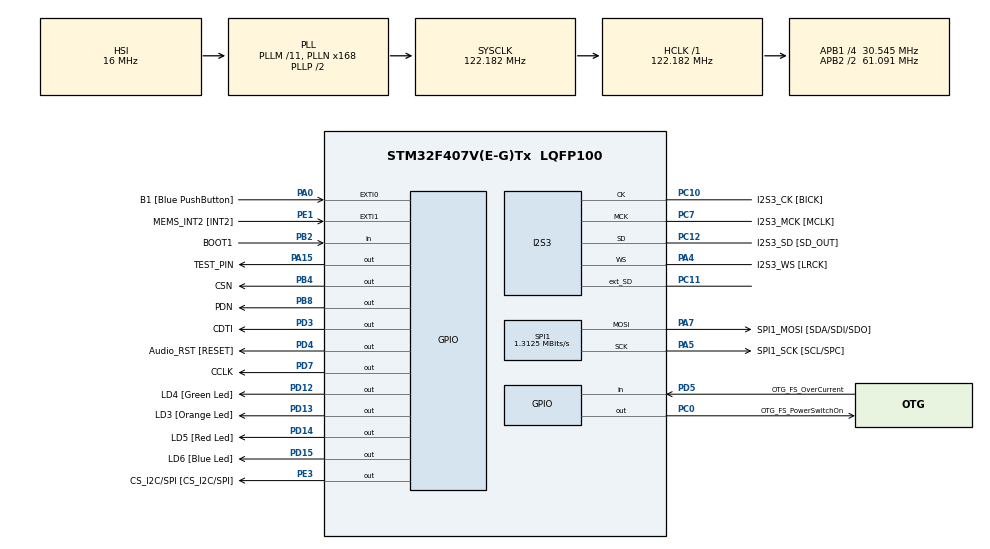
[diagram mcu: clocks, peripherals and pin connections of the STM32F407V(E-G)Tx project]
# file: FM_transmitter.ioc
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Dma.I2S3_EXT_RX.1.Direction=DMA_PERIPH_TO_MEMORY
Dma.I2S3_EXT_RX.1.FIFOMode=DMA_FIFOMODE_DISABLE
Dma.I2S3_EXT_RX.1.Instance=DMA1_Stream0
Dma.I2S3_EXT_RX.1.MemDataAlignment=DMA_MDATAALIGN_WORD
Dma.I2S3_EXT_RX.1.MemInc=DMA_MINC_ENABLE
Dma.I2S3_EXT_RX.1.Mode=DMA_CIRCULAR
Dma.I2S3_EXT_RX.1.PeriphDataAlignment=DMA_PDATAALIGN_WORD
Dma.I2S3_EXT_RX.1.PeriphInc=DMA_PINC_DISABLE
Dma.I2S3_EXT_RX.1.Priority=DMA_PRIORITY_HIGH
Dma.Request0=SPI3_TX
Dma.Request1=I2S3_EXT_RX
Dma.SPI3_TX.0.Direction=DMA_MEMORY_TO_PERIPH
Dma.SPI3_TX.0.FIFOMode=DMA_FIFOMODE_DISABLE
Dma.SPI3_TX.0.Instance=DMA1_Stream5
Dma.SPI3_TX.0.MemDataAlignment=DMA_MDATAALIGN_WORD
Dma.SPI3_TX.0.MemInc=DMA_MINC_ENABLE
Dma.SPI3_TX.0.Mode=DMA_CIRCULAR
Dma.SPI3_TX.0.PeriphDataAlignment=DMA_PDATAALIGN_WORD
Dma.SPI3_TX.0.PeriphInc=DMA_PINC_DISABLE
Dma.SPI3_TX.0.Priority=DMA_PRIORITY_HIGH
I2S3.AudioFreq=I2S_AUDIOFREQ_96K
I2S3.CPOL=I2S_CPOL_LOW
I2S3.ClockSource=I2S_CLOCK_PLL
I2S3.DataFormat=I2S_DATAFORMAT_32B
I2S3.ErrorAudioFreq=4.43 %
I2S3.FullDuplexMode=I2S_FULLDUPLEXMODE_ENABLE
I2S3.Mode=I2S_MODE_MASTER_TX
I2S3.RealAudioFreq=100.26 KHz
Mcu.Family=STM32F4
Mcu.Name=STM32F407V(E-G)Tx
Mcu.Package=LQFP100
NVIC.DMA1_Stream0_IRQn=true\:0\:0\:false\:false\:true
NVIC.DMA1_Stream5_IRQn=true\:0\:0\:false\:false\:true
NVIC.PriorityGroup=NVIC_PRIORITYGROUP_0
NVIC.SPI3_IRQn=true\:0\:0\:false\:false\:true
NVIC.TIM6_DAC_IRQn=true\:0\:0\:false\:false\:true
PA0-WKUP.GPIO_Label=B1 [Blue PushButton]
PA0-WKUP.GPIO_ModeDefaultEXTI=GPIO_MODE_EVT_RISING
PA0-WKUP.GPIO_PuPd=GPIO_NOPULL
PA0-WKUP.Signal=GPXTI0
PA10.GPIO_Label=OTG_FS_ID
PA10.GPIO_Mode=GPIO_MODE_AF_PP
PA10.GPIO_PuPd=GPIO_NOPULL
PA10.GPIO_Speed=GPIO_SPEED_FREQ_LOW
PA10.Signal=USB_OTG_FS_ID
PA11.GPIO_Label=OTG_FS_DM
PA11.GPIO_Mode=GPIO_MODE_AF_PP
PA11.GPIO_PuPd=GPIO_NOPULL
PA11.GPIO_Speed=GPIO_SPEED_FREQ_LOW
PA11.Signal=USB_OTG_FS_DM
PA12.GPIO_Label=OTG_FS_DP
PA12.GPIO_Mode=GPIO_MODE_AF_PP
PA12.GPIO_PuPd=GPIO_NOPULL
PA12.GPIO_Speed=GPIO_SPEED_FREQ_LOW
PA12.Signal=USB_OTG_FS_DP
PA13.GPIO_Label=SWDIO
PA13.Signal=SYS_JTMS-SWDIO
PA14.GPIO_Label=SWCLK
PA14.Signal=SYS_JTCK-SWCLK
PA15.GPIO_Label=TEST_PIN
PA15.GPIO_Speed=GPIO_SPEED_FREQ_LOW
PA15.PinState=GPIO_PIN_RESET
PA15.Signal=GPIO_Output
PA4.GPIO_Label=I2S3_WS [LRCK]
PA4.GPIO_Mode=GPIO_MODE_AF_PP
PA4.GPIO_PuPd=GPIO_NOPULL
PA4.GPIO_Speed=GPIO_SPEED_FREQ_LOW
PA4.Mode=Full_Duplex_Master
PA4.Signal=I2S3_WS
PA5.GPIO_Label=SPI1_SCK [SCL/SPC]
PA5.GPIO_Mode=GPIO_MODE_AF_PP
PA5.GPIO_PuPd=GPIO_NOPULL
PA5.GPIO_Speed=GPIO_SPEED_FREQ_MEDIUM
PA5.Mode=TX_Only_Simplex_Unidirect_Master
PA5.Signal=SPI1_SCK
PA6.GPIO_Label=SPI1_MISO [SDO]
PA6.GPIO_Mode=GPIO_MODE_AF_PP
PA6.GPIO_PuPd=GPIO_NOPULL
PA6.GPIO_Speed=GPIO_SPEED_FREQ_LOW
PA6.Signal=SPI1_MISO
PA7.GPIO_Label=SPI1_MOSI [SDA/SDI/SDO]
PA7.GPIO_Mode=GPIO_MODE_AF_PP
PA7.GPIO_PuPd=GPIO_NOPULL
PA7.GPIO_Speed=GPIO_SPEED_FREQ_MEDIUM
PA7.Mode=TX_Only_Simplex_Unidirect_Master
PA7.Signal=SPI1_MOSI
PA9.GPIO_Label=VBUS_FS
PA9.GPIO_Mode=GPIO_MODE_INPUT
PA9.GPIO_PuPd=GPIO_NOPULL
PA9.Signal=USB_OTG_FS_VBUS
PB10.GPIO_Label=I2S2_CK [BICK]
PB10.GPIO_Mode=GPIO_MODE_AF_PP
PB10.GPIO_PuPd=GPIO_NOPULL
PB10.GPIO_Speed=GPIO_SPEED_FREQ_LOW
PB10.Signal=I2S2_CK
PB2.GPIO_Label=BOOT1
PB2.GPIO_Mode=GPIO_MODE_INPUT
PB2.GPIO_PuPd=GPIO_NOPULL
PB2.Signal=GPIO_Input
PB3.GPIO_Label=SWO
PB3.Signal=SYS_JTDO-SWO
PB4.GPIO_Label=CSN
PB4.PinState=GPIO_PIN_SET
PB4.Signal=GPIO_Output
PB6.GPIO_Label=Audio_SCL
PB6.GPIO_Mode=GPIO_MODE_AF_OD
PB6.GPIO_PuPd=GPIO_NOPULL
PB6.GPIO_Speed=GPIO_SPEED_FREQ_LOW
PB6.Signal=I2C1_SCL
PB8.GPIO_Label=PDN
PB8.PinState=GPIO_PIN_SET
PB8.Signal=GPIO_Output
PB9.GPIO_Label=Audio_SDA
PB9.GPIO_Mode=GPIO_MODE_AF_OD
PB9.GPIO_PuPd=GPIO_NOPULL
PB9.GPIO_Speed=GPIO_SPEED_FREQ_LOW
PB9.Signal=I2C1_SDA
PC0.GPIO_Label=OTG_FS_PowerSwitchOn
PC0.GPIO_PuPd=GPIO_NOPULL
PC0.GPIO_Speed=GPIO_SPEED_FREQ_LOW
PC0.PinState=GPIO_PIN_SET
PC0.Signal=GPIO_Output
PC10.GPIO_Label=I2S3_CK [BICK]
PC10.GPIO_Mode=GPIO_MODE_AF_PP
PC10.GPIO_PuPd=GPIO_NOPULL
PC10.GPIO_Speed=GPIO_SPEED_FREQ_LOW
PC10.Mode=Full_Duplex_Master
PC10.Signal=I2S3_CK
PC11.Mode=Full_Duplex_Master
PC11.Signal=I2S3_ext_SD
PC12.GPIO_Label=I2S3_SD [SD_OUT]
PC12.GPIO_Mode=GPIO_MODE_AF_PP
PC12.GPIO_PuPd=GPIO_NOPULL
PC12.GPIO_Speed=GPIO_SPEED_FREQ_LOW
PC12.Mode=Full_Duplex_Master
PC12.Signal=I2S3_SD
PC14-OSC32_IN.GPIO_Label=PC14-OSC32_IN
PC14-OSC32_IN.Signal=RCC_OSC32_IN
PC15-OSC32_OUT.GPIO_Label=PC15-OSC32_OUT
PC15-OSC32_OUT.Signal=RCC_OSC32_OUT
PC3.GPIO_Label=I2S2_SD [SD_OUT]
PC3.GPIO_Mode=GPIO_MODE_AF_PP
PC3.GPIO_PuPd=GPIO_NOPULL
PC3.GPIO_Speed=GPIO_SPEED_FREQ_LOW
PC3.Signal=I2S2_SD
PC7.GPIO_Label=I2S3_MCK [MCLK]
PC7.GPIO_Mode=GPIO_MODE_AF_PP
PC7.GPIO_PuPd=GPIO_NOPULL
PC7.GPIO_Speed=GPIO_SPEED_FREQ_VERY_HIGH
PC7.Mode=Master_Clock_Activated
PC7.Signal=I2S3_MCK
PD12.GPIO_Label=LD4 [Green Led]
PD12.GPIO_PuPd=GPIO_NOPULL
PD12.GPIO_Speed=GPIO_SPEED_FREQ_LOW
PD12.PinState=GPIO_PIN_SET
PD12.Signal=GPIO_Output
PD13.GPIO_Label=LD3 [Orange Led]
PD13.GPIO_PuPd=GPIO_NOPULL
PD13.GPIO_Speed=GPIO_SPEED_FREQ_LOW
PD13.PinState=GPIO_PIN_SET
PD13.Signal=GPIO_Output
PD14.GPIO_Label=LD5 [Red Led]
PD14.GPIO_PuPd=GPIO_NOPULL
PD14.GPIO_Speed=GPIO_SPEED_FREQ_LOW
PD14.PinState=GPIO_PIN_SET
PD14.Signal=GPIO_Output
PD15.GPIO_Label=LD6 [Blue Led]
PD15.GPIO_PuPd=GPIO_NOPULL
PD15.GPIO_Speed=GPIO_SPEED_FREQ_LOW
PD15.PinState=GPIO_PIN_SET
PD15.Signal=GPIO_Output
PD3.GPIO_Label=CDTI
PD3.PinState=GPIO_PIN_SET
PD3.Signal=GPIO_Output
PD4.GPIO_Label=Audio_RST [RESET]
PD4.GPIO_PuPd=GPIO_NOPULL
PD4.GPIO_Speed=GPIO_SPEED_FREQ_LOW
PD4.Signal=GPIO_Output
PD5.GPIO_Label=OTG_FS_OverCurrent
PD5.GPIO_Mode=GPIO_MODE_INPUT
PD5.GPIO_PuPd=GPIO_NOPULL
PD5.Signal=GPIO_Input
PD7.GPIO_Label=CCLK
PD7.PinState=GPIO_PIN_SET
PD7.Signal=GPIO_Output
PE1.GPIO_Label=MEMS_INT2 [INT2]
PE1.GPIO_ModeDefaultEXTI=GPIO_MODE_EVT_RISING
PE1.GPIO_PuPd=GPIO_NOPULL
PE1.Signal=GPXTI1
PE3.GPIO_Label=CS_I2C/SPI [CS_I2C/SPI]
PE3.GPIO_PuPd=GPIO_NOPULL
PE3.GPIO_Speed=GPIO_SPEED_FREQ_LOW
PE3.Signal=GPIO_Output
PH0-OSC_IN.GPIO_Label=PH0-OSC_IN
PH0-OSC_IN.Signal=RCC_OSC_IN
PH1-OSC_OUT.GPIO_Label=PH1-OSC_OUT
PH1-OSC_OUT.Signal=RCC_OSC_OUT
ProjectManager.HeapSize=0x200
ProjectManager.StackSize=0x400
ProjectManager.TargetToolchain=MDK-ARM V5
RCC.48MHZClocksFreq_Value=34909090.909090914
RCC.AHBFreq_Value=122181818.18181819
RCC.APB1CLKDivider=RCC_HCLK_DIV4
RCC.APB1Freq_Value=30545454.545454547
RCC.APB1TimFreq_Value=61090909.09090909
RCC.APB2CLKDivider=RCC_HCLK_DIV2
RCC.APB2Freq_Value=61090909.09090909
RCC.APB2TimFreq_Value=122181818.18181819
RCC.CortexFreq_Value=122181818.18181819
RCC.EXTERNAL_CLOCK_VALUE=8192000.000000001
RCC.HCLKFreq_Value=122181818.18181819
RCC.HSE_VALUE=8000000
RCC.HSI_VALUE=16000000
RCC.LSE_VALUE=32768
RCC.PLLI2SN=212
RCC.PLLM=11
RCC.PLLN=168
RCC.PLLQ=7
RCC.RCC_MCO1Source=RCC_MCO1SOURCE_PLLCLK
RCC.SYSCLKFreq_VALUE=122181818.18181819
RCC.SYSCLKSource=RCC_SYSCLKSOURCE_PLLCLK
RCC.VCOOutputFreq_Value=244363636.36363637
SPI1.BaudRatePrescaler=SPI_BAUDRATEPRESCALER_64
SPI1.CLKPhase=SPI_PHASE_2EDGE
SPI1.CLKPolarity=SPI_POLARITY_HIGH
SPI1.CalculateBaudRate=1.3125 MBits/s
SPI1.DataSize=SPI_DATASIZE_16BIT
SPI1.FirstBit=SPI_FIRSTBIT_MSB
SPI1.Mode=SPI_MODE_MASTER
TIM6.Period=1
TIM6.Prescaler=84
VP_TIM6_VS_ClockSourceINT.Mode=Enable_Timer
board=STM32F4DISCOVERY

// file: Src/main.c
/**
  ******************************************************************************
  * File Name          : main.c
  * Description        : Main program body
  ******************************************************************************
  *
  * COPYRIGHT(c) 2017 STMicroelectronics
  *
  * Redistribution and use in source and binary forms, with or without modification,
  * are permitted provided that the following conditions are met:
  *   1. Redistributions of source code must retain the above copyright notice,
  *      this list of conditions and the following disclaimer.
  *   2. Redistributions in binary form must reproduce the above copyright notice,
  *      this list of conditions and the following disclaimer in the documentation
  *      and/or other materials provided with the distribution.
  *   3. Neither the name of STMicroelectronics nor the names of its contributors
  *      may be used to endorse or promote products derived from this software
  *      without specific prior written permission.
  *
  * THIS SOFTWARE IS PROVIDED BY THE COPYRIGHT HOLDERS AND CONTRIBUTORS "AS IS"
  * AND ANY EXPRESS OR IMPLIED WARRANTIES, INCLUDING, BUT NOT LIMITED TO, THE
  * IMPLIED WARRANTIES OF MERCHANTABILITY AND FITNESS FOR A PARTICULAR PURPOSE ARE
  * DISCLAIMED. IN NO EVENT SHALL THE COPYRIGHT HOLDER OR CONTRIBUTORS BE LIABLE
  * FOR ANY DIRECT, INDIRECT, INCIDENTAL, SPECIAL, EXEMPLARY, OR CONSEQUENTIAL
  * DAMAGES (INCLUDING, BUT NOT LIMITED TO, PROCUREMENT OF SUBSTITUTE GOODS OR
  * SERVICES; LOSS OF USE, DATA, OR PROFITS; OR BUSINESS INTERRUPTION) HOWEVER
  * CAUSED AND ON ANY THEORY OF LIABILITY, WHETHER IN CONTRACT, STRICT LIABILITY,
  * OR TORT (INCLUDING NEGLIGENCE OR OTHERWISE) ARISING IN ANY WAY OUT OF THE USE
  * OF THIS SOFTWARE, EVEN IF ADVISED OF THE POSSIBILITY OF SUCH DAMAGE.
  *
  ******************************************************************************
  */
#include "stm32f4xx_hal.h"

/* USER CODE BEGIN Includes */

	#define ARM_MATH_CM4
	#include "arm_math.h"
	#include "codec.h"

/* USER CODE END Includes */

I2S_HandleTypeDef hi2s3;
DMA_HandleTypeDef hdma_spi3_tx;
DMA_HandleTypeDef hdma_i2s3_ext_rx;

SPI_HandleTypeDef hspi1;

TIM_HandleTypeDef htim6;

/* USER CODE BEGIN PV */
/* Private variables ---------------------------------------------------------*/

/* USER CODE END PV */

void SystemClock_Config(void);
void Error_Handler(void);
static void MX_GPIO_Init(void);
static void MX_DMA_Init(void);
static void MX_I2S3_Init(void);
static void MX_TIM6_Init(void);
static void MX_SPI1_Init(void);

/* USER CODE BEGIN PFP */
/* Private function prototypes -----------------------------------------------*/

/* USER CODE END PFP */

/* USER CODE BEGIN 0 */

	// Manejo de los callback
	uint8_t toggle_buffer = 0;

	// Buffers de comunicacion I2S
	uint32_t buffer_rx[BUFFER_LENGTH*2] = {0};
	uint32_t buffer_tx[BUFFER_LENGTH*2] = {0};

	// Punteros auxiliares para realizar dsp
	uint32_t *buffer_tx_aux;
	uint32_t *buffer_rx_aux;

	// Buffers dsp
	q31_t canal_L_q[BUFFER_LENGTH/4] = {0};
	float32_t canal_L[BUFFER_LENGTH/4] = {0};
	q31_t canal_R_q[BUFFER_LENGTH/4] = {0};
	float32_t canal_R[BUFFER_LENGTH/4] = {0};
	float32_t canal_L_filtrado[BUFFER_LENGTH/4] = {0};
	float32_t canal_R_filtrado[BUFFER_LENGTH/4] = {0};
	float32_t suma[BUFFER_LENGTH/4] = {0};
	float32_t resta[BUFFER_LENGTH/4] = {0};
	float32_t aux[BUFFER_LENGTH/4] = {0};
	float32_t mpx[BUFFER_LENGTH/4] = {0};
	q31_t mpx_q[BUFFER_LENGTH/4] = {0};
	float32_t lowpassfilter[FILTER_LENGTH] = {-0.002718, -0.001551, -0.000426, 0.002050, 0.005458, 0.008797, 0.010769, 0.010297, 0.007058, 0.001805, -0.003738,
-0.007453, -0.007690, -0.004072, 0.002127, 0.008316, 0.011556, 0.009855, 0.003226, -0.006009, -0.013922,
-0.016546, -0.011702, -0.000316, 0.013454, 0.023529, 0.024313, 0.013319, -0.007077, -0.029612, -0.044091,
-0.040834, -0.014402, 0.033751, 0.094846, 0.154885, 0.198726, 0.214782, 0.198726, 0.154885, 0.094846,
0.033751, -0.014402, -0.040834, -0.044091, -0.029612, -0.007077, 0.013319, 0.024313, 0.023529, 0.013454,
-0.000316, -0.011702, -0.016546, -0.013922, -0.006009, 0.003226, 0.009855, 0.011556, 0.008316, 0.002127,
-0.004072, -0.007690, -0.007453, -0.003738, 0.001805, 0.007058, 0.010297, 0.010769, 0.008797, 0.005458,
0.002050, -0.000426, -0.001551, -0.002718};
	uint32_t piloto19k_idx = 0;
	float32_t piloto19k[PILOTO_19k_LENGTH] = {0.000000, 0.707107, 1.000000, 0.707107, 0.000000, -0.707107, -1.000000, -0.707107, -0.000000, 0.707107, 1.000000,
0.707107, 0.000000, -0.707107, -1.000000, -0.707107, -0.000000, 0.707107, 1.000000, 0.707107, 0.000000,
-0.707107, -1.000000, -0.707107, -0.000000, 0.707107, 1.000000, 0.707107, 0.000000, -0.707107, -1.000000,
-0.707107, -0.000000, 0.707107, 1.000000, 0.707107, 0.000000, -0.707107, -1.000000, -0.707107, -0.000000,
0.707107, 1.000000, 0.707107, -0.000000, -0.707107, -1.000000, -0.707107, -0.000000, 0.707107, 1.000000,
0.707107, -0.000000, -0.707107, -1.000000, -0.707107, -0.000000, 0.707107, 1.000000, 0.707107, -0.000000,
-0.707107, -1.000000, -0.707107, -0.000000, 0.707107, 1.000000, 0.707107, 0.000000, -0.707107, -1.000000,
-0.707107, -0.000000, 0.707107, 1.000000, 0.707107, 0.000000, -0.707107, -1.000000, -0.707107, -0.000000,
0.707107, 1.000000, 0.707107, -0.000000, -0.707107, -1.000000, -0.707107, 0.000000, 0.707107, 1.000000,
0.707107, 0.000000, -0.707107, -1.000000, -0.707107, -0.000000, 0.707107, 1.000000, 0.707107, 0.000000,
-0.707107, -1.000000, -0.707107, 0.000000, 0.707107, 1.000000, 0.707107, -0.000000, -0.707107, -1.000000,
-0.707107, -0.000000, 0.707107, 1.000000, 0.707107, -0.000000, -0.707107, -1.000000, -0.707107, 0.000000,
0.707107, 1.000000, 0.707107, -0.000000, -0.707107, -1.000000, -0.707107, -0.000000, 0.707107, 1.000000,
0.707107, 0.000000, -0.707107, -1.000000, -0.707107, -0.000000, 0.707107, 1.000000, 0.707107, -0.000000,
-0.707107, -1.000000, -0.707107, -0.000000, 0.707107, 1.000000, 0.707107, 0.000000, -0.707107, -1.000000,
-0.707107, -0.000000, 0.707107, 1.000000, 0.707107, 0.000000, -0.707107, -1.000000, -0.707107, -0.000000,
0.707107, 1.000000, 0.707107, 0.000000, -0.707107, -1.000000, -0.707107, 0.000000, 0.707107, 1.000000,
0.707107, -0.000000, -0.707107, -1.000000, -0.707107, 0.000000, 0.707107, 1.000000, 0.707107, 0.000000,
-0.707107, -1.000000, -0.707107, -0.000000, 0.707107, 1.000000, 0.707107, -0.000000, -0.707107, -1.000000,
-0.707107, -0.000000, 0.707107, 1.000000, 0.707107, 0.000000, -0.707107, -1.000000, -0.707107, -0.000000,
0.707107, 1.000000, 0.707107, -0.000000, -0.707107, -1.000000, -0.707107, 0.000000, 0.707107, 1.000000,
0.707107, 0.000000, -0.707107, -1.000000, -0.707107, 0.000000, 0.707107, 1.000000, 0.707107, -0.000000,
-0.707107, -1.000000, -0.707107, -0.000000, 0.707107, 1.000000, 0.707107, 0.000000, -0.707107, -1.000000,
-0.707107, 0.000000, 0.707107, 1.000000, 0.707107, 0.000000, -0.707107, -1.000000, -0.707107, 0.000000,
0.707107, 1.000000, 0.707107, 0.000000, -0.707107, -1.000000, -0.707107, 0.000000, 0.707107, 1.000000,
0.707107, -0.000000, -0.707107, -1.000000, -0.707107, -0.000000, 0.707107, 1.000000, 0.707107, 0.000000,
-0.707107, -1.000000, -0.707107, -0.000000, 0.707107, 1.000000, 0.707107, 0.000000, -0.707107, -1.000000,
-0.707107, -0.000000, 0.707107, 1.000000, 0.707107, -0.000000, -0.707107, -1.000000, -0.707107, 0.000000,
0.707107, 1.000000, 0.707107, -0.000000, -0.707107, -1.000000, -0.707107, -0.000000, 0.707107, 1.000000,
0.707107, -0.000000, -0.707107, -1.000000, -0.707107, -0.000000, 0.707107, 1.000000, 0.707107, 0.000000,
-0.707107, -1.000000, -0.707107, -0.000000, 0.707107, 1.000000, 0.707107, 0.000000, -0.707107, -1.000000,
-0.707107, -0.000000, 0.707107, 1.000000, 0.707107, 0.000000, -0.707107, -1.000000, -0.707107, -0.000000,
0.707107, 1.000000, 0.707107, 0.000000, -0.707107, -1.000000, -0.707107, -0.000000, 0.707107, 1.000000,
0.707107, -0.000000, -0.707107, -1.000000, -0.707107, 0.000000, 0.707107, 1.000000, 0.707107, 0.000000,
-0.707107, -1.000000, -0.707107, 0.000000, 0.707107, 1.000000, 0.707107, -0.000000, -0.707107, -1.000000,
-0.707107, 0.000000, 0.707107, 1.000000, 0.707107, -0.000000, -0.707107, -1.000000, -0.707107, -0.000000,
0.707107, 1.000000, 0.707107, 0.000000, -0.707107, -1.000000, -0.707107, -0.000000, 0.707107, 1.000000,
0.707107, -0.000000, -0.707107, -1.000000, -0.707107};
	uint32_t piloto38k_idx = 0;
	float32_t piloto38k[PILOTO_38k_LENGTH] = {0.000000, 1.000000, 0.000000, -1.000000, -0.000000, 1.000000, 0.000000, -1.000000, -0.000000, 1.000000, 0.000000,
-1.000000, -0.000000, 1.000000, 0.000000, -1.000000, -0.000000, 1.000000, 0.000000, -1.000000, -0.000000,
1.000000, -0.000000, -1.000000, -0.000000, 1.000000, -0.000000, -1.000000, -0.000000, 1.000000, -0.000000,
-1.000000, -0.000000, 1.000000, 0.000000, -1.000000, -0.000000, 1.000000, 0.000000, -1.000000, -0.000000,
1.000000, -0.000000, -1.000000, 0.000000, 1.000000, 0.000000, -1.000000, -0.000000, 1.000000, 0.000000,
-1.000000, 0.000000, 1.000000, -0.000000, -1.000000, -0.000000, 1.000000, -0.000000, -1.000000, 0.000000,
1.000000, -0.000000, -1.000000, -0.000000, 1.000000, 0.000000, -1.000000, -0.000000, 1.000000, -0.000000,
-1.000000, -0.000000, 1.000000, 0.000000, -1.000000, -0.000000, 1.000000, 0.000000, -1.000000, -0.000000,
1.000000, 0.000000, -1.000000, 0.000000, 1.000000, -0.000000, -1.000000, 0.000000, 1.000000, 0.000000,
-1.000000, -0.000000, 1.000000, -0.000000, -1.000000, -0.000000, 1.000000, 0.000000, -1.000000, -0.000000,
1.000000, -0.000000, -1.000000, 0.000000, 1.000000, 0.000000, -1.000000, 0.000000, 1.000000, -0.000000,
-1.000000, -0.000000, 1.000000, 0.000000, -1.000000, 0.000000, 1.000000, 0.000000, -1.000000, 0.000000,
1.000000, 0.000000, -1.000000, 0.000000, 1.000000, -0.000000, -1.000000, -0.000000, 1.000000, 0.000000,
-1.000000, -0.000000, 1.000000, 0.000000, -1.000000, -0.000000, 1.000000, -0.000000, -1.000000, 0.000000,
1.000000, -0.000000, -1.000000, -0.000000, 1.000000, -0.000000, -1.000000, -0.000000, 1.000000, 0.000000,
-1.000000, -0.000000, 1.000000, 0.000000, -1.000000, -0.000000, 1.000000, 0.000000, -1.000000, -0.000000,
1.000000, 0.000000, -1.000000, -0.000000, 1.000000, -0.000000, -1.000000, 0.000000, 1.000000, 0.000000,
-1.000000, 0.000000, 1.000000, -0.000000, -1.000000, 0.000000, 1.000000, -0.000000, -1.000000, -0.000000,
1.000000, 0.000000, -1.000000, -0.000000, 1.000000, -0.000000, -1.000000, 0.000000, 1.000000, 0.000000,
-1.000000, -0.000000, 1.000000, 0.000000, -1.000000, -0.000000, 1.000000, 0.000000, -1.000000, -0.000000,
1.000000, -0.000000, -1.000000, 0.000000, 1.000000, -0.000000, -1.000000, 0.000000, 1.000000, -0.000000,
-1.000000, -0.000000, 1.000000, 0.000000, -1.000000, 0.000000, 1.000000, -0.000000, -1.000000, 0.000000,
1.000000, 0.000000, -1.000000, -0.000000, 1.000000, 0.000000, -1.000000, -0.000000, 1.000000, 0.000000,
-1.000000, 0.000000, 1.000000, 0.000000, -1.000000, -0.000000, 1.000000, -0.000000, -1.000000, 0.000000,
1.000000, -0.000000, -1.000000, -0.000000, 1.000000, -0.000000, -1.000000, 0.000000, 1.000000, -0.000000,
-1.000000, 0.000000, 1.000000, 0.000000, -1.000000, -0.000000, 1.000000, 0.000000, -1.000000, -0.000000,
1.000000, -0.000000, -1.000000, -0.000000, 1.000000, 0.000000, -1.000000, -0.000000, 1.000000, 0.000000,
-1.000000, -0.000000, 1.000000, 0.000000, -1.000000, 0.000000, 1.000000, -0.000000, -1.000000, 0.000000,
1.000000, -0.000000, -1.000000, 0.000000, 1.000000, 0.000000, -1.000000, -0.000000, 1.000000, 0.000000,
-1.000000, 0.000000, 1.000000, -0.000000, -1.000000, -0.000000, 1.000000, 0.000000, -1.000000, -0.000000,
1.000000, 0.000000, -1.000000, -0.000000, 1.000000, 0.000000, -1.000000, -0.000000, 1.000000, 0.000000,
-1.000000, -0.000000, 1.000000, 0.000000, -1.000000, -0.000000, 1.000000, 0.000000, -1.000000, -0.000000,
1.000000, 0.000000, -1.000000, -0.000000, 1.000000, 0.000000, -1.000000, -0.000000, 1.000000, -0.000000,
-1.000000, 0.000000, 1.000000, -0.000000, -1.000000, 0.000000, 1.000000, 0.000000, -1.000000, -0.000000,
1.000000, 0.000000, -1.000000, 0.000000, 1.000000, -0.000000, -1.000000, 0.000000, 1.000000, -0.000000,
-1.000000, 0.000000, 1.000000, -0.000000, -1.000000, 0.000000, 1.000000, -0.000000, -1.000000, -0.000000,
1.000000, 0.000000, -1.000000, -0.000000, 1.000000, 0.000000, -1.000000};
	float32_t pState[PSTATE_LENGTH] = {0};

//	// Para 96KHz
//	float32_t piloto19k[BUFFER_LENGTH/4] = {0.000000, 0.946930, 0.608761, -0.555570, -0.965926, -0.065403, 0.923880, 0.659346, -0.500000, -0.980785, -0.130526,
//0.896873, 0.707107, -0.442289, -0.991445, -0.195090, 0.866025, 0.751840, -0.382683, -0.997859, -0.258819,
//0.831470, 0.793353, -0.321439, -1.000000, -0.321439, 0.793353, 0.831470, -0.258819, -0.997859, -0.382683,
//0.751840, 0.866025, -0.195090, -0.991445, -0.442289, 0.707107, 0.896873, -0.130526, -0.980785, -0.500000,
//0.659346, 0.923880, -0.065403, -0.965926, -0.555570, 0.608761, 0.946930, 0.000000, -0.946930, -0.608761,
//0.555570, 0.965926, 0.065403, -0.923880, -0.659346, 0.500000, 0.980785, 0.130526, -0.896873, -0.707107,
//0.442289, 0.991445, 0.195090, -0.866025, -0.751840, 0.382683, 0.997859, 0.258819, -0.831470, -0.793353,
//0.321439, 1.000000, 0.321439, -0.793353, -0.831470, 0.258819, 0.997859, 0.382683, -0.751840, -0.866025,
//0.195090, 0.991445, 0.442289, -0.707107, -0.896873, 0.130526, 0.980785, 0.500000, -0.659346, -0.923880,
//0.065403, 0.965926, 0.555570, -0.608761, -0.946930, -0.000000, 0.946930, 0.608761, -0.555570, -0.965926,
//-0.065403, 0.923880, 0.659346, -0.500000, -0.980785, -0.130526, 0.896873, 0.707107, -0.442289, -0.991445,
//-0.195090, 0.866025, 0.751840, -0.382683, -0.997859, -0.258819, 0.831470, 0.793353, -0.321439, -1.000000,
//-0.321439, 0.793353, 0.831470, -0.258819, -0.997859, -0.382683, 0.751840, 0.866025, -0.195090, -0.991445,
//-0.442289, 0.707107, 0.896873, -0.130526, -0.980785, -0.500000, 0.659346, 0.923880, -0.065403, -0.965926,
//-0.555570, 0.608761, 0.946930, 0.000000, -0.946930, -0.608761, 0.555570, 0.965926, 0.065403, -0.923880,
//-0.659346, 0.500000, 0.980785, 0.130526, -0.896873, -0.707107, 0.442289, 0.991445, 0.195090, -0.866025,
//-0.751840, 0.382683, 0.997859, 0.258819, -0.831470, -0.793353, 0.321439, 1.000000, 0.321439, -0.793353,
//-0.831470, 0.258819, 0.997859, 0.382683, -0.751840, -0.866025, 0.195090, 0.991445, 0.442289, -0.707107,
//-0.896873, 0.130526, 0.980785, 0.500000, -0.659346, -0.923880, 0.065403, 0.965926, 0.555570, -0.608761,
//-0.946930, -0.000000, 0.946930, 0.608761, -0.555570, -0.965926, -0.065403, 0.923880, 0.659346, -0.500000,
//-0.980785, -0.130526, 0.896873, 0.707107, -0.442289, -0.991445, -0.195090, 0.866025, 0.751840, -0.382683,
//-0.997859, -0.258819, 0.831470, 0.793353, -0.321439, -1.000000, -0.321439, 0.793353, 0.831470, -0.258819,
//-0.997859, -0.382683, 0.751840, 0.866025, -0.195090, -0.991445, -0.442289, 0.707107, 0.896873, -0.130526,
//-0.980785, -0.500000, 0.659346, 0.923880, -0.065403, -0.965926, -0.555570, 0.608761, 0.946930, 0.000000,
//-0.946930, -0.608761, 0.555570, 0.965926, 0.065403, -0.923880, -0.659346, 0.500000, 0.980785, 0.130526,
//-0.896873, -0.707107, 0.442289, 0.991445, 0.195090, -0.866025, -0.751840, 0.382683, 0.997859, 0.258819,
//-0.831470, -0.793353, 0.321439, 1.000000, 0.321439, -0.793353, -0.831470, 0.258819, 0.997859, 0.382683,
//-0.751840, -0.866025, 0.195090, 0.991445, 0.442289, -0.707107, -0.896873, 0.130526, 0.980785, 0.500000,
//-0.659346, -0.923880, 0.065403, 0.965926, 0.555570, -0.608761, -0.946930, -0.000000, 0.946930, 0.608761,
//-0.555570, -0.965926, -0.065403, 0.923880, 0.659346, -0.500000, -0.980785, -0.130526, 0.896873, 0.707107,
//-0.442289, -0.991445, -0.195090, 0.866025, 0.751840, -0.382683, -0.997859, -0.258819, 0.831470, 0.793353,
//-0.321439, -1.000000, -0.321439, 0.793353, 0.831470, -0.258819, -0.997859, -0.382683, 0.751840, 0.866025,
//-0.195090, -0.991445, -0.442289, 0.707107, 0.896873, -0.130526, -0.980785, -0.500000, 0.659346, 0.923880,
//-0.065403, -0.965926, -0.555570, 0.608761, 0.946930, 0.000000, -0.946930, -0.608761, 0.555570, 0.965926,
//0.065403, -0.923880, -0.659346, 0.500000, 0.980785, 0.130526, -0.896873, -0.707107, 0.442289, 0.991445,
//0.195090, -0.866025, -0.751840, 0.382683, 0.997859, 0.258819, -0.831470, -0.793353, 0.321439, 1.000000,
//0.321439, -0.793353, -0.831470, 0.258819, 0.997859, 0.382683, -0.751840, -0.866025, 0.195090, 0.991445,
//0.442289, -0.707107, -0.896873, 0.130526, 0.980785, 0.500000, -0.659346, -0.923880, 0.065403, 0.965926,
//0.555570, -0.608761, -0.946930, -0.000000, 0.946930, 0.608761, -0.555570, -0.965926, -0.065403, 0.923880,
//0.659346, -0.500000, -0.980785, -0.130526, 0.896873, 0.707107, -0.442289, -0.991445, -0.195090, 0.866025,
//0.751840, -0.382683, -0.997859, -0.258819, 0.831470, 0.793353, -0.321439, -1.000000, -0.321439, 0.793353,
//0.831470, -0.258819, -0.997859, -0.382683, 0.751840, 0.866025, -0.195090, -0.991445, -0.442289, 0.707107,
//0.896873, -0.130526, -0.980785, -0.500000, 0.659346, 0.923880, -0.065403, -0.965926, -0.555570, 0.608761,
//0.946930, 0.000000, -0.946930, -0.608761, 0.555570, 0.965926, 0.065403, -0.923880, -0.659346, 0.500000,
//0.980785, 0.130526, -0.896873, -0.707107, 0.442289, 0.991445, 0.195090, -0.866025, -0.751840, 0.382683,
//0.997859, 0.258819, -0.831470, -0.793353, 0.321439, 1.000000, 0.321439, -0.793353, -0.831470, 0.258819,
//0.997859, 0.382683, -0.751840, -0.866025, 0.195090, 0.991445, 0.442289, -0.707107, -0.896873, 0.130526,
//0.980785, 0.500000, -0.659346, -0.923880, 0.065403, 0.965926, 0.555570, -0.608761, -0.946930, -0.000000,
//0.946930, 0.608761, -0.555570, -0.965926, -0.065403, 0.923880, 0.659346, -0.500000, -0.980785, -0.130526,
//0.896873, 0.707107, -0.442289, -0.991445, -0.195090, 0.866025, 0.751840, -0.382683, -0.997859, -0.258819,
//0.831470, 0.793353, -0.321439, -1.000000, -0.321439, 0.793353, 0.831470, -0.258819, -0.997859, -0.382683,
//0.000000};

	// Armado de los canales
	volatile uint8_t CANAL = CH_L_1;

	// Filtro digital
	arm_fir_instance_f32 lowpass = {0};

/* USER CODE END 0 */

int main(void)
{

  /* MCU Configuration----------------------------------------------------------*/

  /* Reset of all peripherals, Initializes the Flash interface and the Systick. */
  HAL_Init();

  /* Configure the system clock */
  SystemClock_Config();

  /* Initialize all configured peripherals */
  MX_GPIO_Init();
  MX_DMA_Init();
  MX_I2S3_Init();
  MX_TIM6_Init();
  MX_SPI1_Init();

  /* USER CODE BEGIN 2 */

	////////////////////////////////////////////////////////////////////////////////////////////////////
	// Pruebas arm.math
	////////////////////////////////////////////////////////////////////////////////////////////////////

//	arm_biquad_cascade_df2T_instance_f32 *S;
//	uint8_t numStages;
//	float32_t *pCoeffs;
//	float32_t *pState;
//	arm_biquad_cascade_df2T_init_f32 (S,numStages,pCoeffs,pState);

//	uint32_t blockSize=BUFFER_LENGTH;
//	float32_t pSrcA[BUFFER_LENGTH]={1};
//	float32_t pSrcB[BUFFER_LENGTH]={2};
//	float32_t pDst[BUFFER_LENGTH];

	buffer_tx_aux = buffer_tx;

	toggle_buffer = BUFFER_A;

	if( HAL_I2SEx_TransmitReceive_DMA(&hi2s3, (uint16_t *) buffer_tx, (uint16_t *) buffer_rx, BUFFER_LENGTH) != HAL_OK )
	{
			Error_Handler();
	}

	AK4621EF_init();

	HAL_GPIO_WritePin(TEST_PIN_GPIO_Port, TEST_PIN_Pin, GPIO_PIN_RESET);

  /* USER CODE END 2 */

  /* Infinite loop */
  while (1)
  {

  /* USER CODE BEGIN 3 */

		led_secuencia();
		dma_tx_rx();

  }

	//*********************************************************
  /* USER CODE END 3 */

}

/** System Clock Configuration
*/
void SystemClock_Config(void)
{

  RCC_OscInitTypeDef RCC_OscInitStruct;
  RCC_ClkInitTypeDef RCC_ClkInitStruct;
  RCC_PeriphCLKInitTypeDef PeriphClkInitStruct;

  __HAL_RCC_PWR_CLK_ENABLE();

  __HAL_PWR_VOLTAGESCALING_CONFIG(PWR_REGULATOR_VOLTAGE_SCALE1);

  RCC_OscInitStruct.OscillatorType = RCC_OSCILLATORTYPE_HSI;
  RCC_OscInitStruct.HSIState = RCC_HSI_ON;
  RCC_OscInitStruct.HSICalibrationValue = 16;
  RCC_OscInitStruct.PLL.PLLState = RCC_PLL_ON;
  RCC_OscInitStruct.PLL.PLLSource = RCC_PLLSOURCE_HSI;
  RCC_OscInitStruct.PLL.PLLM = 11;
  RCC_OscInitStruct.PLL.PLLN = 168;
  RCC_OscInitStruct.PLL.PLLP = RCC_PLLP_DIV2;
  RCC_OscInitStruct.PLL.PLLQ = 7;
  if (HAL_RCC_OscConfig(&RCC_OscInitStruct) != HAL_OK)
  {
    Error_Handler();
  }

  RCC_ClkInitStruct.ClockType = RCC_CLOCKTYPE_HCLK|RCC_CLOCKTYPE_SYSCLK
                              |RCC_CLOCKTYPE_PCLK1|RCC_CLOCKTYPE_PCLK2;
  RCC_ClkInitStruct.SYSCLKSource = RCC_SYSCLKSOURCE_PLLCLK;
  RCC_ClkInitStruct.AHBCLKDivider = RCC_SYSCLK_DIV1;
  RCC_ClkInitStruct.APB1CLKDivider = RCC_HCLK_DIV4;
  RCC_ClkInitStruct.APB2CLKDivider = RCC_HCLK_DIV2;
  if (HAL_RCC_ClockConfig(&RCC_ClkInitStruct, FLASH_LATENCY_4) != HAL_OK)
  {
    Error_Handler();
  }

  PeriphClkInitStruct.PeriphClockSelection = RCC_PERIPHCLK_I2S;
  PeriphClkInitStruct.PLLI2S.PLLI2SN = 212;
  PeriphClkInitStruct.PLLI2S.PLLI2SR = 2;
  if (HAL_RCCEx_PeriphCLKConfig(&PeriphClkInitStruct) != HAL_OK)
  {
    Error_Handler();
  }

  HAL_SYSTICK_Config(HAL_RCC_GetHCLKFreq()/1000);

  HAL_SYSTICK_CLKSourceConfig(SYSTICK_CLKSOURCE_HCLK);

  /* SysTick_IRQn interrupt configuration */
  HAL_NVIC_SetPriority(SysTick_IRQn, 0, 0);
}

/* I2S3 init function */
static void MX_I2S3_Init(void)
{

  hi2s3.Instance = SPI3;
  hi2s3.Init.Mode = I2S_MODE_MASTER_TX;
  hi2s3.Init.Standard = I2S_STANDARD_PHILIPS;
  hi2s3.Init.DataFormat = I2S_DATAFORMAT_32B;
  hi2s3.Init.MCLKOutput = I2S_MCLKOUTPUT_ENABLE;
  hi2s3.Init.AudioFreq = ((uint32_t)152000U);
  hi2s3.Init.CPOL = I2S_CPOL_LOW;
  hi2s3.Init.ClockSource = I2S_CLOCK_PLL;
  hi2s3.Init.FullDuplexMode = I2S_FULLDUPLEXMODE_ENABLE;
  if (HAL_I2S_Init(&hi2s3) != HAL_OK)
  {
    Error_Handler();
  }

}

/* SPI1 init function */
static void MX_SPI1_Init(void)
{

  hspi1.Instance = SPI1;
  hspi1.Init.Mode = SPI_MODE_MASTER;
  hspi1.Init.Direction = SPI_DIRECTION_2LINES;
  hspi1.Init.DataSize = SPI_DATASIZE_16BIT;
  hspi1.Init.CLKPolarity = SPI_POLARITY_HIGH;
  hspi1.Init.CLKPhase = SPI_PHASE_2EDGE;
  hspi1.Init.NSS = SPI_NSS_SOFT;
  hspi1.Init.BaudRatePrescaler = SPI_BAUDRATEPRESCALER_64;
  hspi1.Init.FirstBit = SPI_FIRSTBIT_MSB;
  hspi1.Init.TIMode = SPI_TIMODE_DISABLE;
  hspi1.Init.CRCCalculation = SPI_CRCCALCULATION_DISABLE;
  hspi1.Init.CRCPolynomial = 10;
  if (HAL_SPI_Init(&hspi1) != HAL_OK)
  {
    Error_Handler();
  }

}

/* TIM6 init function */
static void MX_TIM6_Init(void)
{

  TIM_MasterConfigTypeDef sMasterConfig;

  htim6.Instance = TIM6;
  htim6.Init.Prescaler = 84;
  htim6.Init.CounterMode = TIM_COUNTERMODE_UP;
  htim6.Init.Period = 1;
  if (HAL_TIM_Base_Init(&htim6) != HAL_OK)
  {
    Error_Handler();
  }

  sMasterConfig.MasterOutputTrigger = TIM_TRGO_RESET;
  sMasterConfig.MasterSlaveMode = TIM_MASTERSLAVEMODE_DISABLE;
  if (HAL_TIMEx_MasterConfigSynchronization(&htim6, &sMasterConfig) != HAL_OK)
  {
    Error_Handler();
  }

}

static void MX_DMA_Init(void)
{
  /* DMA controller clock enable */
  __HAL_RCC_DMA1_CLK_ENABLE();

  /* DMA interrupt init */
  /* DMA1_Stream0_IRQn interrupt configuration */
  HAL_NVIC_SetPriority(DMA1_Stream0_IRQn, 0, 0);
  HAL_NVIC_EnableIRQ(DMA1_Stream0_IRQn);
  /* DMA1_Stream5_IRQn interrupt configuration */
  HAL_NVIC_SetPriority(DMA1_Stream5_IRQn, 0, 0);
  HAL_NVIC_EnableIRQ(DMA1_Stream5_IRQn);

}

/** Configure pins as
        * Analog
        * Input
        * Output
        * EVENT_OUT
        * EXTI
     PC3   ------> I2S2_SD
     PB10   ------> I2S2_CK
     PA9   ------> USB_OTG_FS_VBUS
     PA10   ------> USB_OTG_FS_ID
     PA11   ------> USB_OTG_FS_DM
     PA12   ------> USB_OTG_FS_DP
     PB6   ------> I2C1_SCL
     PB9   ------> I2C1_SDA
*/
static void MX_GPIO_Init(void)
{

  GPIO_InitTypeDef GPIO_InitStruct;

  /* GPIO Ports Clock Enable */
  __HAL_RCC_GPIOE_CLK_ENABLE();
  __HAL_RCC_GPIOC_CLK_ENABLE();
  __HAL_RCC_GPIOH_CLK_ENABLE();
  __HAL_RCC_GPIOA_CLK_ENABLE();
  __HAL_RCC_GPIOB_CLK_ENABLE();
  __HAL_RCC_GPIOD_CLK_ENABLE();

  /*Configure GPIO pin Output Level */
  HAL_GPIO_WritePin(CS_I2C_SPI_GPIO_Port, CS_I2C_SPI_Pin, GPIO_PIN_RESET);

  /*Configure GPIO pin Output Level */
  HAL_GPIO_WritePin(OTG_FS_PowerSwitchOn_GPIO_Port, OTG_FS_PowerSwitchOn_Pin, GPIO_PIN_SET);

  /*Configure GPIO pin Output Level */
  HAL_GPIO_WritePin(GPIOD, LD4_Pin|LD3_Pin|LD5_Pin|LD6_Pin
                          |CDTI_Pin|CCLK_Pin, GPIO_PIN_SET);

  /*Configure GPIO pin Output Level */
  HAL_GPIO_WritePin(TEST_PIN_GPIO_Port, TEST_PIN_Pin, GPIO_PIN_RESET);

  /*Configure GPIO pin Output Level */
  HAL_GPIO_WritePin(Audio_RST_GPIO_Port, Audio_RST_Pin, GPIO_PIN_RESET);

  /*Configure GPIO pin Output Level */
  HAL_GPIO_WritePin(GPIOB, CSN_Pin|PDN_Pin, GPIO_PIN_SET);

  /*Configure GPIO pin : CS_I2C_SPI_Pin */
  GPIO_InitStruct.Pin = CS_I2C_SPI_Pin;
  GPIO_InitStruct.Mode = GPIO_MODE_OUTPUT_PP;
  GPIO_InitStruct.Pull = GPIO_NOPULL;
  GPIO_InitStruct.Speed = GPIO_SPEED_FREQ_LOW;
  HAL_GPIO_Init(CS_I2C_SPI_GPIO_Port, &GPIO_InitStruct);

  /*Configure GPIO pin : OTG_FS_PowerSwitchOn_Pin */
  GPIO_InitStruct.Pin = OTG_FS_PowerSwitchOn_Pin;
  GPIO_InitStruct.Mode = GPIO_MODE_OUTPUT_PP;
  GPIO_InitStruct.Pull = GPIO_NOPULL;
  GPIO_InitStruct.Speed = GPIO_SPEED_FREQ_LOW;
  HAL_GPIO_Init(OTG_FS_PowerSwitchOn_GPIO_Port, &GPIO_InitStruct);

  /*Configure GPIO pin : PC3 */
  GPIO_InitStruct.Pin = GPIO_PIN_3;
  GPIO_InitStruct.Mode = GPIO_MODE_AF_PP;
  GPIO_InitStruct.Pull = GPIO_NOPULL;
  GPIO_InitStruct.Speed = GPIO_SPEED_FREQ_LOW;
  GPIO_InitStruct.Alternate = GPIO_AF5_SPI2;
  HAL_GPIO_Init(GPIOC, &GPIO_InitStruct);

  /*Configure GPIO pin : B1_Pin */
  GPIO_InitStruct.Pin = B1_Pin;
  GPIO_InitStruct.Mode = GPIO_MODE_EVT_RISING;
  GPIO_InitStruct.Pull = GPIO_NOPULL;
  HAL_GPIO_Init(B1_GPIO_Port, &GPIO_InitStruct);

  /*Configure GPIO pin : BOOT1_Pin */
  GPIO_InitStruct.Pin = BOOT1_Pin;
  GPIO_InitStruct.Mode = GPIO_MODE_INPUT;
  GPIO_InitStruct.Pull = GPIO_NOPULL;
  HAL_GPIO_Init(BOOT1_GPIO_Port, &GPIO_InitStruct);

  /*Configure GPIO pin : PB10 */
  GPIO_InitStruct.Pin = GPIO_PIN_10;
  GPIO_InitStruct.Mode = GPIO_MODE_AF_PP;
  GPIO_InitStruct.Pull = GPIO_NOPULL;
  GPIO_InitStruct.Speed = GPIO_SPEED_FREQ_LOW;
  GPIO_InitStruct.Alternate = GPIO_AF5_SPI2;
  HAL_GPIO_Init(GPIOB, &GPIO_InitStruct);

  /*Configure GPIO pins : LD4_Pin LD3_Pin LD5_Pin LD6_Pin
                           CDTI_Pin Audio_RST_Pin CCLK_Pin */
  GPIO_InitStruct.Pin = LD4_Pin|LD3_Pin|LD5_Pin|LD6_Pin
                          |CDTI_Pin|Audio_RST_Pin|CCLK_Pin;
  GPIO_InitStruct.Mode = GPIO_MODE_OUTPUT_PP;
  GPIO_InitStruct.Pull = GPIO_NOPULL;
  GPIO_InitStruct.Speed = GPIO_SPEED_FREQ_LOW;
  HAL_GPIO_Init(GPIOD, &GPIO_InitStruct);

  /*Configure GPIO pin : VBUS_FS_Pin */
  GPIO_InitStruct.Pin = VBUS_FS_Pin;
  GPIO_InitStruct.Mode = GPIO_MODE_INPUT;
  GPIO_InitStruct.Pull = GPIO_NOPULL;
  HAL_GPIO_Init(VBUS_FS_GPIO_Port, &GPIO_InitStruct);

  /*Configure GPIO pins : OTG_FS_ID_Pin OTG_FS_DM_Pin OTG_FS_DP_Pin */
  GPIO_InitStruct.Pin = OTG_FS_ID_Pin|OTG_FS_DM_Pin|OTG_FS_DP_Pin;
  GPIO_InitStruct.Mode = GPIO_MODE_AF_PP;
  GPIO_InitStruct.Pull = GPIO_NOPULL;
  GPIO_InitStruct.Speed = GPIO_SPEED_FREQ_LOW;
  GPIO_InitStruct.Alternate = GPIO_AF10_OTG_FS;
  HAL_GPIO_Init(GPIOA, &GPIO_InitStruct);

  /*Configure GPIO pin : TEST_PIN_Pin */
  GPIO_InitStruct.Pin = TEST_PIN_Pin;
  GPIO_InitStruct.Mode = GPIO_MODE_OUTPUT_PP;
  GPIO_InitStruct.Pull = GPIO_NOPULL;
  GPIO_InitStruct.Speed = GPIO_SPEED_FREQ_LOW;
  HAL_GPIO_Init(TEST_PIN_GPIO_Port, &GPIO_InitStruct);

  /*Configure GPIO pin : OTG_FS_OverCurrent_Pin */
  GPIO_InitStruct.Pin = OTG_FS_OverCurrent_Pin;
  GPIO_InitStruct.Mode = GPIO_MODE_INPUT;
  GPIO_InitStruct.Pull = GPIO_NOPULL;
  HAL_GPIO_Init(OTG_FS_OverCurrent_GPIO_Port, &GPIO_InitStruct);

  /*Configure GPIO pins : CSN_Pin PDN_Pin */
  GPIO_InitStruct.Pin = CSN_Pin|PDN_Pin;
  GPIO_InitStruct.Mode = GPIO_MODE_OUTPUT_PP;
  GPIO_InitStruct.Pull = GPIO_NOPULL;
  GPIO_InitStruct.Speed = GPIO_SPEED_FREQ_LOW;
  HAL_GPIO_Init(GPIOB, &GPIO_InitStruct);

  /*Configure GPIO pins : Audio_SCL_Pin Audio_SDA_Pin */
  GPIO_InitStruct.Pin = Audio_SCL_Pin|Audio_SDA_Pin;
  GPIO_InitStruct.Mode = GPIO_MODE_AF_OD;
  GPIO_InitStruct.Pull = GPIO_PULLUP;
  GPIO_InitStruct.Speed = GPIO_SPEED_FREQ_LOW;
  GPIO_InitStruct.Alternate = GPIO_AF4_I2C1;
  HAL_GPIO_Init(GPIOB, &GPIO_InitStruct);

  /*Configure GPIO pin : MEMS_INT2_Pin */
  GPIO_InitStruct.Pin = MEMS_INT2_Pin;
  GPIO_InitStruct.Mode = GPIO_MODE_EVT_RISING;
  GPIO_InitStruct.Pull = GPIO_NOPULL;
  HAL_GPIO_Init(MEMS_INT2_GPIO_Port, &GPIO_InitStruct);

}

void Error_Handler(void)
{
  /* USER CODE BEGIN Error_Handler */
	uint32_t i = 0;
  /* User can add his own implementation to report the HAL error return state */
  while(1)
  {
		if(i == 0)
			HAL_GPIO_WritePin(GPIOD, LD3_Pin|LD4_Pin|LD5_Pin|LD6_Pin, GPIO_PIN_SET);

		i++;
  }
  /* USER CODE END Error_Handler */
}

/************************ (C) COPYRIGHT STMicroelectronics *****END OF FILE****/
